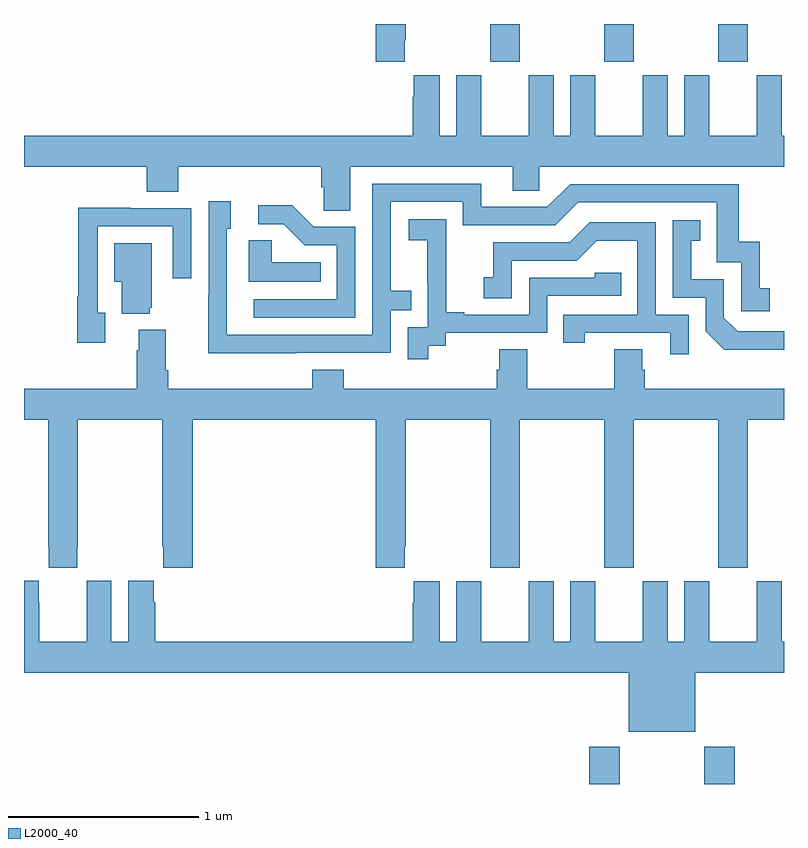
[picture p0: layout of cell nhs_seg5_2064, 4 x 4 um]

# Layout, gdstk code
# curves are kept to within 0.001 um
import gdstk
lib = gdstk.Library(unit=1e-6, precision=1e-09)
def R(c, l, rs):  # rectangles x0, y0, x1, y1
    for r in rs: c.add(gdstk.rectangle(r[:2], r[2:], *l))
def A(c, l, x, y, w, h, nx, ny, dx, dy):  # array of equal rectangles
    R(c, l, [(x+i*dx, y+j*dy, x+i*dx+w, y+j*dy+h) for i in range(nx) for j in range(ny)])
def P(c, l, *ps):  # polygons
    for p in ps: c.add(gdstk.Polygon(p, *l))
L2000_40 = (2000, 40)

nhs_seg5_2064 = lib.new_cell('nhs_seg5_2064')
A(nhs_seg5_2064, L2000_40, 233.455, 902.601, 0.155, 0.198, 3, 1, 0.6, 0)
R(nhs_seg5_2064, L2000_40, [(233.975,898.799,234.135,898.996), (234.58,898.799,234.74,898.996)])
P(nhs_seg5_2064, L2000_40, [(233.005,902.713),(233.01,902.713),(233.01,902.799),(232.85,902.799),(232.85,902.601),(233.005,902.601)],
  [(232.717,902.048),(233.573,902.048),(233.573,901.921),(233.712,901.921),(233.712,902.048),(235,902.048),(235,902.212),(234.988,902.212),(234.988,902.53),(234.857,902.53),(234.857,902.212),(234.607,902.212),(234.607,902.53),(234.476,902.53),(234.476,902.212),(234.388,902.212),(234.388,902.53),(234.257,902.53),(234.257,902.212),(234.007,902.212),(234.007,902.53),(233.876,902.53),(233.876,902.212),(233.788,902.212),(233.788,902.53),(233.657,902.53),(233.657,902.212),(233.407,902.212),(233.407,902.53),(233.276,902.53),(233.276,902.212),(233.188,902.212),(233.188,902.53),(233.051,902.53),(233.051,902.417),(233.045,902.417),(233.045,902.212),(231,902.212),(231,902.048),(231.647,902.048),(231.647,901.915),(231.812,901.915),(231.812,902.048),(232.565,902.048),(232.565,901.939),(232.578,901.939),(232.578,901.816),(232.717,901.816)],
  [(232.433,901.068),(232.929,901.068),(232.929,901.293),(233.039,901.293),(233.039,901.394),(232.929,901.394),(232.929,901.863),(233.31,901.863),(233.31,901.74),(233.796,901.74),(233.916,901.86),(234.645,901.86),(234.645,901.545),(234.774,901.545),(234.774,901.287),(234.925,901.287),(234.925,901.407),(234.872,901.407),(234.872,901.654),(234.761,901.654),(234.761,901.956),(233.874,901.956),(233.754,901.836),(233.407,901.836),(233.407,901.959),(232.833,901.959),(232.833,901.164),(232.068,901.164),(232.068,901.722),(232.087,901.722),(232.087,901.867),(231.972,901.867),(231.972,901.373),(231.97,901.373),(231.97,901.067)],
  [(232.743,901.731),(232.524,901.731),(232.411,901.844),(232.233,901.844),(232.233,901.746),(232.367,901.746),(232.478,901.635),(232.647,901.635),(232.647,901.35),(232.209,901.35),(232.209,901.254),(232.743,901.254)],
  [(231.427,901.278),(231.387,901.278),(231.387,901.734),(231.783,901.734),(231.783,901.461),(231.879,901.461),(231.879,901.83),(231.563,901.83),(231.563,901.832),(231.286,901.832),(231.286,901.366),(231.279,901.366),(231.279,901.122),(231.427,901.122)],
  [(233.128,901.105),(233.22,901.105),(233.22,901.173),(233.754,901.173),(233.754,901.368),(234.143,901.368),(234.143,901.491),(234.003,901.491),(234.003,901.464),(233.658,901.464),(233.658,901.269),(233.317,901.269),(233.317,901.282),(233.222,901.282),(233.222,901.565),(233.223,901.565),(233.223,901.771),(233.025,901.771),(233.025,901.661),(233.123,901.661),(233.123,901.433),(233.124,901.433),(233.124,901.203),(233.019,901.203),(233.019,901.035),(233.128,901.035)],
  [(235,901.182),(234.756,901.182),(234.684,901.254),(234.684,901.455),(234.511,901.455),(234.511,901.659),(234.56,901.659),(234.56,901.765),(234.414,901.765),(234.414,901.359),(234.588,901.359),(234.588,901.182),(234.686,901.085),(235,901.085)],
  [(234.498,901.269),(234.324,901.269),(234.324,901.755),(233.978,901.755),(233.873,901.65),(233.47,901.65),(233.47,901.465),(233.421,901.465),(233.421,901.356),(233.568,901.356),(233.568,901.554),(233.91,901.554),(234.014,901.658),(234.228,901.658),(234.228,901.269),(233.839,901.269),(233.839,901.122),(233.95,901.122),(233.95,901.173),(234.401,901.173),(234.401,901.062),(234.498,901.062)],
  [(232.562,901.546),(232.305,901.546),(232.305,901.661),(232.184,901.661),(232.184,901.442),(232.562,901.442)],
  [(231.662,901.305),(231.673,901.305),(231.673,901.645),(231.476,901.645),(231.476,901.442),(231.515,901.442),(231.515,901.274),(231.662,901.274)],
  [(231.279,900.049),(231.282,900.049),(231.282,900.716),(231.727,900.716),(231.727,900.049),(231.733,900.049),(231.733,899.937),(231.887,899.937),(231.887,900.716),(232.85,900.716),(232.85,899.937),(233.005,899.937),(233.005,900.049),(233.01,900.049),(233.01,900.716),(233.455,900.716),(233.455,899.937),(233.61,899.937),(233.61,900.716),(234.055,900.716),(234.055,899.937),(234.21,899.937),(234.21,900.716),(234.655,900.716),(234.655,899.937),(234.81,899.937),(234.81,900.716),(235,900.716),(235,900.88),(234.266,900.88),(234.266,900.978),(234.253,900.978),(234.253,901.088),(234.106,901.088),(234.106,900.88),(233.649,900.88),(233.649,901.088),(233.501,901.088),(233.501,900.978),(233.489,900.978),(233.489,900.88),(232.682,900.88),(232.682,900.979),(232.517,900.979),(232.517,900.88),(231.758,900.88),(231.758,900.976),(231.745,900.976),(231.745,901.189),(231.605,901.189),(231.605,901.082),(231.593,901.082),(231.593,900.88),(231,900.88),(231,900.716),(231.127,900.716),(231.127,900.049),(231.129,900.049),(231.129,899.937),(231.279,899.937)],
  [(234.182,899.075),(234.532,899.075),(234.532,899.384),(235,899.384),(235,899.548),(234.988,899.548),(234.988,899.866),(234.857,899.866),(234.857,899.548),(234.607,899.548),(234.607,899.866),(234.476,899.866),(234.476,899.548),(234.388,899.548),(234.388,899.866),(234.257,899.866),(234.257,899.548),(234.007,899.548),(234.007,899.866),(233.876,899.866),(233.876,899.548),(233.788,899.548),(233.788,899.866),(233.657,899.866),(233.657,899.548),(233.407,899.548),(233.407,899.866),(233.276,899.866),(233.276,899.548),(233.188,899.548),(233.188,899.866),(233.051,899.866),(233.051,899.753),(233.045,899.753),(233.045,899.548),(231.692,899.548),(231.692,899.756),(231.682,899.756),(231.682,899.869),(231.548,899.869),(231.548,899.548),(231.46,899.548),(231.46,899.869),(231.33,899.869),(231.33,899.756),(231.329,899.756),(231.329,899.548),(231.079,899.548),(231.079,899.756),(231.078,899.756),(231.078,899.869),(231,899.869),(231,899.384),(234.182,899.384)])

lib.write_gds('nhs_seg5_2064.gds')
